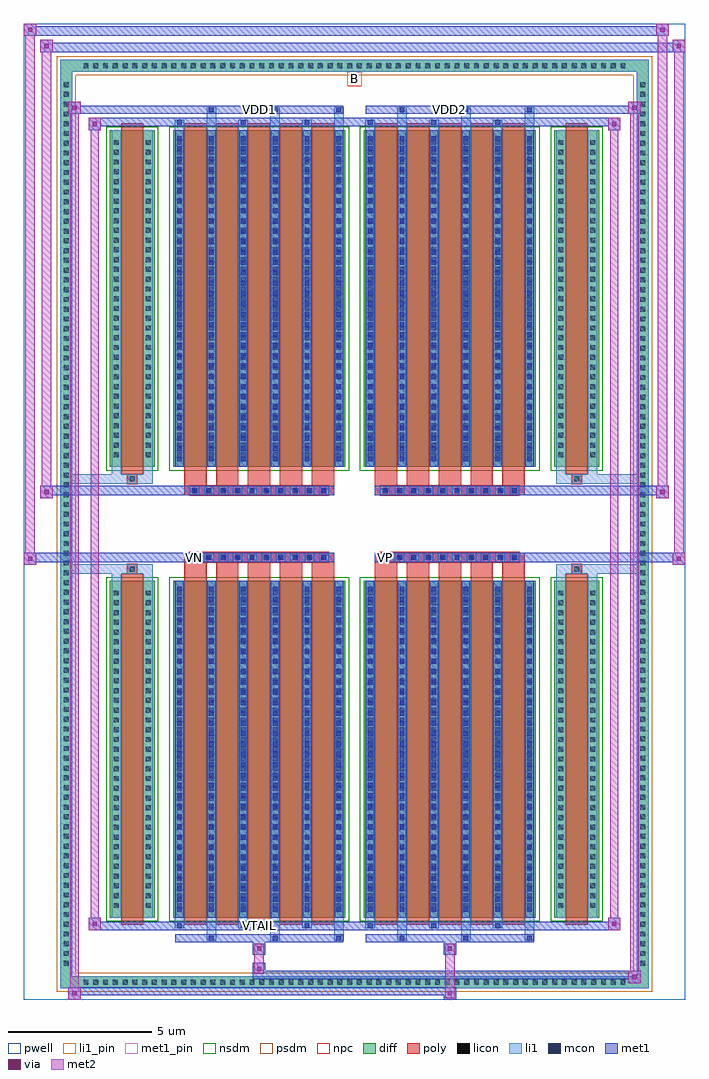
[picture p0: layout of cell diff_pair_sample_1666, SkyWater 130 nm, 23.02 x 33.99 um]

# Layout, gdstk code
import gdstk
lib = gdstk.Library(unit=1e-6, precision=5e-09)
def R(c, l, rs):  # rectangles x0, y0, x1, y1
    for r in rs: c.add(gdstk.rectangle(r[:2], r[2:], *l))
def A(c, l, x, y, w, h, nx, ny, dx, dy):  # array of equal rectangles
    R(c, l, [(x+i*dx, y+j*dy, x+i*dx+w, y+j*dy+h) for i in range(nx) for j in range(ny)])
def P(c, l, *ps):  # polygons
    for p in ps: c.add(gdstk.Polygon(p, *l))
pwell = (64, 44)
diff = (65, 20)
poly = (66, 20)
licon = (66, 44)
li1_pin = (67, 16)
li1 = (67, 20)
mcon = (67, 44)
met1_pin = (68, 16)
met1 = (68, 20)
via = (68, 44)
met2 = (69, 20)
nsdm = (93, 44)
psdm = (94, 20)
npc = (95, 20)

diff_pair_sample_1666 = lib.new_cell('diff_pair_sample_1666')
R(diff_pair_sample_1666, pwell, [(-11.51,-16.56,11.51,17.43), (-8.83,-14.75,-0.01,-0.795), (0.01,-14.75,8.83,-0.795), (-8.83,0.795,-0.01,14.75), (0.01,0.795,8.83,14.75)])
A(diff_pair_sample_1666, diff, -9.555, -16.16, 0.41, 0.41, 56, 2, 0.34, 31.91)
A(diff_pair_sample_1666, diff, -10.24, -15.505, 0.41, 0.41, 1, 91, 0, 0.34)
A(diff_pair_sample_1666, diff, 9.83, -15.505, 0.41, 0.41, 1, 91, 0, 0.34)
R(diff_pair_sample_1666, diff, [(-9.555,-16.16,9.555,-15.75), (-10.24,-15.505,-9.83,15.505), (9.83,-15.505,10.24,15.505), (-8.52,-13.705,-6.96,-1.985), (-6.32,-13.705,-0.32,-1.985), (0.32,-13.705,6.32,-1.985), (6.96,-13.705,8.52,-1.985), (-8.52,1.985,-6.96,13.705), (-6.32,1.985,-0.32,13.705), (0.32,1.985,6.32,13.705), (6.96,1.985,8.52,13.705), (-9.555,15.75,9.555,16.16)])
P(diff_pair_sample_1666, diff, [(10.24,16.16),(-10.24,16.16),(-10.24,-15.75),(-9.83,-15.75),(-9.83,15.75),(9.83,15.75),(9.83,-15.75),(-9.83,-15.75),(-10.24,-15.75),(-10.24,-16.16),(10.24,-16.16)])
A(diff_pair_sample_1666, poly, -5.93, -13.955, 0.78, 12.22, 5, 2, 1.11, 15.69)
A(diff_pair_sample_1666, poly, 0.71, -13.955, 0.78, 12.22, 5, 2, 1.11, 15.69)
A(diff_pair_sample_1666, poly, -5.93, -1.735, 0.78, 0.41, 5, 2, 1.11, 3.06)
A(diff_pair_sample_1666, poly, 0.71, -1.735, 0.78, 0.41, 5, 2, 1.11, 3.06)
A(diff_pair_sample_1666, poly, -5.735, -1.325, 0.33, 0.33, 10, 2, 0.5, 2.32)
A(diff_pair_sample_1666, poly, 0.905, -1.325, 0.33, 0.33, 10, 2, 0.5, 2.32)
R(diff_pair_sample_1666, poly, [(-8.13,-13.955,-7.35,-1.735), (7.35,-13.955,8.13,-1.735), (-7.905,-1.735,-7.575,-1.405), (-7.905,-1.735,-7.575,-1.405), (7.575,-1.735,7.905,-1.405), (7.575,-1.735,7.905,-1.405), (-5.93,-1.325,-0.71,-0.995), (0.71,-1.325,5.93,-0.995), (-5.93,0.995,-0.71,1.325), (0.71,0.995,5.93,1.325), (-7.905,1.405,-7.575,1.735), (-7.905,1.405,-7.575,1.735), (7.575,1.405,7.905,1.735), (7.575,1.405,7.905,1.735), (-8.13,1.735,-7.35,13.955), (7.35,1.735,8.13,13.955)])
A(diff_pair_sample_1666, licon, -9.435, -16.04, 0.17, 0.17, 56, 2, 0.34, 31.91)
A(diff_pair_sample_1666, licon, -10.12, -15.385, 0.17, 0.17, 1, 91, 0, 0.34)
A(diff_pair_sample_1666, licon, 9.95, -15.385, 0.17, 0.17, 1, 91, 0, 0.34)
A(diff_pair_sample_1666, licon, -8.38, -13.37, 0.17, 0.17, 1, 33, 0, 0.34)
A(diff_pair_sample_1666, licon, -7.27, -13.37, 0.17, 0.17, 1, 33, 0, 0.34)
A(diff_pair_sample_1666, licon, -6.18, -13.37, 0.17, 0.17, 6, 33, 1.11, 0.34)
A(diff_pair_sample_1666, licon, 0.46, -13.37, 0.17, 0.17, 6, 33, 1.11, 0.34)
A(diff_pair_sample_1666, licon, 7.1, -13.37, 0.17, 0.17, 1, 33, 0, 0.34)
A(diff_pair_sample_1666, licon, 8.21, -13.37, 0.17, 0.17, 1, 33, 0, 0.34)
A(diff_pair_sample_1666, licon, -5.655, -1.245, 0.17, 0.17, 10, 2, 0.5, 2.32)
A(diff_pair_sample_1666, licon, 0.985, -1.245, 0.17, 0.17, 10, 2, 0.5, 2.32)
A(diff_pair_sample_1666, licon, -8.38, 2.32, 0.17, 0.17, 1, 33, 0, 0.34)
A(diff_pair_sample_1666, licon, -7.27, 2.32, 0.17, 0.17, 1, 33, 0, 0.34)
A(diff_pair_sample_1666, licon, -6.18, 2.32, 0.17, 0.17, 6, 33, 1.11, 0.34)
A(diff_pair_sample_1666, licon, 0.46, 2.32, 0.17, 0.17, 6, 33, 1.11, 0.34)
A(diff_pair_sample_1666, licon, 7.1, 2.32, 0.17, 0.17, 1, 33, 0, 0.34)
A(diff_pair_sample_1666, licon, 8.21, 2.32, 0.17, 0.17, 1, 33, 0, 0.34)
R(diff_pair_sample_1666, licon, [(-7.825,-1.655,-7.655,-1.485), (7.655,-1.655,7.825,-1.485), (-7.825,1.485,-7.655,1.655), (7.655,1.485,7.825,1.655)])
R(diff_pair_sample_1666, li1_pin, [(-0.25,15.25,0.25,15.75)])
A(diff_pair_sample_1666, li1, -9.515, -16.12, 0.33, 0.33, 56, 2, 0.34, 31.91)
A(diff_pair_sample_1666, li1, -10.2, -15.465, 0.33, 0.33, 1, 91, 0, 0.34)
A(diff_pair_sample_1666, li1, 9.87, -15.465, 0.33, 0.33, 1, 91, 0, 0.34)
A(diff_pair_sample_1666, li1, -5.15, -14.51, 0.33, 0.805, 3, 2, 2.22, 28.215)
A(diff_pair_sample_1666, li1, -5.07, -14.51, 0.17, 0.17, 3, 2, 2.22, 28.85)
A(diff_pair_sample_1666, li1, 1.49, -14.51, 0.33, 0.805, 3, 2, 2.22, 28.215)
A(diff_pair_sample_1666, li1, 1.57, -14.51, 0.17, 0.17, 3, 2, 2.22, 28.85)
A(diff_pair_sample_1666, li1, -6.26, -14.08, 0.33, 0.375, 3, 2, 2.22, 27.785)
A(diff_pair_sample_1666, li1, -6.18, -14.08, 0.17, 0.17, 3, 2, 2.22, 27.99)
A(diff_pair_sample_1666, li1, 0.38, -14.08, 0.33, 0.375, 3, 2, 2.22, 27.785)
A(diff_pair_sample_1666, li1, 0.46, -14.08, 0.17, 0.17, 3, 2, 2.22, 27.99)
A(diff_pair_sample_1666, li1, -6.26, -13.705, 0.33, 11.72, 6, 2, 1.11, 15.69)
A(diff_pair_sample_1666, li1, 0.38, -13.705, 0.33, 11.72, 6, 2, 1.11, 15.69)
A(diff_pair_sample_1666, li1, -6.18, -13.51, 0.17, 0.17, 6, 32, 1.11, 0.36)
A(diff_pair_sample_1666, li1, -6.18, -13.51, 0.17, 11.33, 6, 2, 1.11, 15.69)
A(diff_pair_sample_1666, li1, 0.46, -13.51, 0.17, 0.17, 6, 32, 1.11, 0.36)
A(diff_pair_sample_1666, li1, 0.46, -13.51, 0.17, 11.33, 6, 2, 1.11, 15.69)
A(diff_pair_sample_1666, li1, -8.46, -13.45, 0.33, 0.33, 1, 33, 0, 0.34)
A(diff_pair_sample_1666, li1, -7.35, -13.45, 0.33, 0.33, 1, 33, 0, 0.34)
A(diff_pair_sample_1666, li1, -6.26, -13.45, 0.33, 0.33, 6, 33, 1.11, 0.34)
A(diff_pair_sample_1666, li1, 0.38, -13.45, 0.33, 0.33, 6, 33, 1.11, 0.34)
A(diff_pair_sample_1666, li1, 7.02, -13.45, 0.33, 0.33, 1, 33, 0, 0.34)
A(diff_pair_sample_1666, li1, 8.13, -13.45, 0.33, 0.33, 1, 33, 0, 0.34)
A(diff_pair_sample_1666, li1, -5.735, -1.325, 0.33, 0.33, 10, 2, 0.5, 2.32)
A(diff_pair_sample_1666, li1, 0.905, -1.325, 0.33, 0.33, 10, 2, 0.5, 2.32)
A(diff_pair_sample_1666, li1, -6.18, 2.18, 0.17, 0.17, 6, 32, 1.11, 0.36)
A(diff_pair_sample_1666, li1, 0.46, 2.18, 0.17, 0.17, 6, 32, 1.11, 0.36)
A(diff_pair_sample_1666, li1, -8.46, 2.24, 0.33, 0.33, 1, 33, 0, 0.34)
A(diff_pair_sample_1666, li1, -7.35, 2.24, 0.33, 0.33, 1, 33, 0, 0.34)
A(diff_pair_sample_1666, li1, -6.26, 2.24, 0.33, 0.33, 6, 33, 1.11, 0.34)
A(diff_pair_sample_1666, li1, 0.38, 2.24, 0.33, 0.33, 6, 33, 1.11, 0.34)
A(diff_pair_sample_1666, li1, 7.02, 2.24, 0.33, 0.33, 1, 33, 0, 0.34)
A(diff_pair_sample_1666, li1, 8.13, 2.24, 0.33, 0.33, 1, 33, 0, 0.34)
R(diff_pair_sample_1666, li1, [(-10.24,-16.16,-9.83,-15.75), (-10.24,-16.16,-9.83,-15.75), (-9.83,-16.16,9.83,-15.75), (9.83,-16.16,10.24,-15.75), (9.83,-16.16,10.24,-15.75), (-10.24,-15.75,-9.83,15.75), (9.83,-15.75,10.24,15.75), (-8.46,-13.705,-8.13,-1.985), (-7.35,-13.705,-7.02,-1.985), (7.02,-13.705,7.35,-1.985), (8.13,-13.705,8.46,-1.985), (-8.46,-1.985,-8.13,-1.405), (-7.35,-1.985,-7.02,-1.405), (7.02,-1.985,7.35,-1.405), (8.13,-1.985,8.46,-1.405), (-10.24,-1.735,-7.905,-1.405), (-8.46,-1.735,-7.905,-1.405), (-7.905,-1.735,-7.575,-1.405), (-7.575,-1.735,-7.02,-1.405), (7.02,-1.735,7.575,-1.405), (7.575,-1.735,7.905,-1.405), (7.575,-1.735,10.24,-1.405), (7.905,-1.735,8.46,-1.405), (-10.24,1.405,-7.905,1.735), (-8.46,1.405,-7.905,1.735), (-8.46,1.405,-8.13,1.985), (-7.905,1.405,-7.575,1.735), (-7.575,1.405,-7.02,1.735), (-7.35,1.405,-7.02,1.985), (7.02,1.405,7.575,1.735), (7.02,1.405,7.35,1.985), (7.575,1.405,7.905,1.735), (7.575,1.405,10.24,1.735), (7.905,1.405,8.46,1.735), (8.13,1.405,8.46,1.985), (-8.46,1.985,-8.13,13.705), (-7.35,1.985,-7.02,13.705), (7.02,1.985,7.35,13.705), (8.13,1.985,8.46,13.705), (-10.24,15.75,-9.83,16.16), (-10.24,15.75,-9.83,16.16), (-9.83,15.75,9.83,16.16), (9.83,15.75,10.24,16.16), (9.83,15.75,10.24,16.16)])
A(diff_pair_sample_1666, mcon, -5.07, -14.51, 0.17, 0.17, 3, 2, 2.22, 28.85)
A(diff_pair_sample_1666, mcon, 1.57, -14.51, 0.17, 0.17, 3, 2, 2.22, 28.85)
A(diff_pair_sample_1666, mcon, -6.18, -14.08, 0.17, 0.17, 3, 2, 2.22, 27.99)
A(diff_pair_sample_1666, mcon, 0.46, -14.08, 0.17, 0.17, 3, 2, 2.22, 27.99)
A(diff_pair_sample_1666, mcon, -6.18, -13.51, 0.17, 0.17, 6, 32, 1.11, 0.36)
A(diff_pair_sample_1666, mcon, 0.46, -13.51, 0.17, 0.17, 6, 32, 1.11, 0.36)
A(diff_pair_sample_1666, mcon, -5.655, -1.245, 0.17, 0.17, 10, 2, 0.5, 2.32)
A(diff_pair_sample_1666, mcon, 0.985, -1.245, 0.17, 0.17, 10, 2, 0.5, 2.32)
A(diff_pair_sample_1666, mcon, -6.18, 2.18, 0.17, 0.17, 6, 32, 1.11, 0.36)
A(diff_pair_sample_1666, mcon, 0.46, 2.18, 0.17, 0.17, 6, 32, 1.11, 0.36)
R(diff_pair_sample_1666, met1_pin, [(-3.455,-14.12,-3.185,-13.85), (-5.705,-1.285,-5.435,-1.015), (0.935,-1.285,1.205,-1.015), (-3.455,14.3,-3.185,14.57), (3.185,14.3,3.455,14.57)])
A(diff_pair_sample_1666, met1, -5.13, -14.57, 0.29, 0.29, 3, 2, 2.22, 28.85)
A(diff_pair_sample_1666, met1, 1.51, -14.57, 0.29, 0.29, 3, 2, 2.22, 28.85)
A(diff_pair_sample_1666, met1, -6.24, -14.14, 0.29, 0.29, 3, 2, 2.22, 27.99)
A(diff_pair_sample_1666, met1, 0.4, -14.14, 0.29, 0.29, 3, 2, 2.22, 27.99)
A(diff_pair_sample_1666, met1, -6.24, -13.705, 0.29, 11.72, 6, 2, 1.11, 15.69)
A(diff_pair_sample_1666, met1, 0.4, -13.705, 0.29, 11.72, 6, 2, 1.11, 15.69)
A(diff_pair_sample_1666, met1, -6.24, -13.57, 0.29, 0.29, 6, 32, 1.11, 0.36)
A(diff_pair_sample_1666, met1, 0.4, -13.57, 0.29, 0.29, 6, 32, 1.11, 0.36)
A(diff_pair_sample_1666, met1, -5.715, -1.305, 0.29, 0.29, 10, 2, 0.5, 2.32)
A(diff_pair_sample_1666, met1, 0.925, -1.305, 0.29, 0.29, 10, 2, 0.5, 2.32)
A(diff_pair_sample_1666, met1, -6.24, 2.12, 0.29, 0.29, 6, 32, 1.11, 0.36)
A(diff_pair_sample_1666, met1, 0.4, 2.12, 0.29, 0.29, 6, 32, 1.11, 0.36)
R(diff_pair_sample_1666, met1, [(-9.97,-16.56,-9.54,-16.13), (3.105,-16.56,3.535,-16.13), (-9.97,-16.42,3.535,-16.13), (9.54,-15.99,9.97,-15.56), (-3.535,-15.85,9.97,-15.56), (-3.535,-15.71,-3.105,-15.28), (-3.535,-15,-3.105,-14.57), (3.105,-15,3.535,-14.57), (-6.24,-14.57,-0.4,-14.28), (0.4,-14.57,6.24,-14.28), (-9.26,-14.14,-8.83,-13.71), (-9.26,-14.14,-6.24,-13.85), (-6.24,-14.14,-0.4,-13.85), (-0.4,-14.14,0.4,-13.85), (0.4,-14.14,6.24,-13.85), (6.24,-14.14,9.26,-13.85), (8.83,-14.14,9.26,-13.71), (-11.51,-1.425,-11.08,-0.995), (11.08,-1.425,11.51,-0.995), (-11.51,-1.325,-0.71,-0.995), (-5.93,-1.325,-0.71,-0.995), (0.71,-1.325,5.93,-0.995), (0.71,-1.325,11.51,-0.995), (-10.94,0.895,-10.51,1.325), (10.51,0.895,10.94,1.325), (-10.94,0.995,-5.93,1.325), (-5.93,0.995,-0.71,1.325), (0.71,0.995,5.93,1.325), (5.93,0.995,10.94,1.325), (-9.26,13.71,-8.83,14.14), (8.83,13.71,9.26,14.14), (-9.26,13.85,-6.24,14.14), (-6.24,13.85,-0.4,14.14), (-0.4,13.85,0.4,14.14), (0.4,13.85,6.24,14.14), (6.24,13.85,9.26,14.14), (-9.97,14.28,-9.54,14.71), (-9.97,14.28,-6.24,14.57), (-6.24,14.28,-0.4,14.57), (0.4,14.28,6.24,14.57), (6.24,14.28,9.97,14.57), (9.54,14.28,9.97,14.71), (-10.94,16.43,-10.51,16.86), (-10.94,16.43,-8.83,16.76), (-8.83,16.43,8.83,16.76), (8.83,16.43,11.51,16.76), (11.08,16.43,11.51,16.86), (-11.51,17,-11.08,17.43), (-11.51,17,-8.83,17.33), (-8.83,17,8.83,17.33), (8.83,17,10.94,17.33), (10.51,17,10.94,17.43)])
R(diff_pair_sample_1666, via, [(-9.83,-16.42,-9.68,-16.27), (3.245,-16.42,3.395,-16.27), (9.68,-15.85,9.83,-15.7), (-3.395,-15.57,-3.245,-15.42), (-3.395,-14.86,-3.245,-14.71), (3.245,-14.86,3.395,-14.71), (-9.12,-14,-8.97,-13.85), (8.97,-14,9.12,-13.85), (-11.37,-1.285,-11.22,-1.135), (11.22,-1.285,11.37,-1.135), (-10.8,1.035,-10.65,1.185), (10.65,1.035,10.8,1.185), (-9.12,13.85,-8.97,14), (8.97,13.85,9.12,14), (-9.83,14.42,-9.68,14.57), (9.68,14.42,9.83,14.57), (-10.8,16.57,-10.65,16.72), (11.22,16.57,11.37,16.72), (-11.37,17.14,-11.22,17.29), (10.65,17.14,10.8,17.29)])
R(diff_pair_sample_1666, met2, [(-9.97,-16.56,-9.54,-16.13), (-9.9,-16.56,-9.61,14.71), (-9.61,-16.56,-9.54,-16.13), (-9.92,-16.51,-9.59,-16.18), (3.155,-16.51,3.485,-16.18), (3.155,-16.18,3.485,-14.95), (9.54,-15.99,9.97,-15.56), (9.61,-15.99,9.9,14.71), (9.9,-15.99,9.97,-15.56), (9.59,-15.94,9.92,-15.61), (-3.485,-15.66,-3.155,-15.33), (-3.485,-15.33,-3.155,-14.95), (-3.485,-14.95,-3.155,-14.62), (3.155,-14.95,3.485,-14.62), (-9.26,-14.14,-8.83,-13.71), (-9.19,-14.14,-8.9,14.14), (-8.9,-14.14,-8.83,-13.71), (8.83,-14.14,9.26,-13.71), (8.9,-14.14,9.19,14.14), (9.19,-14.14,9.26,-13.71), (-9.21,-14.09,-8.88,-13.76), (8.88,-14.09,9.21,-13.76), (-11.51,-1.425,-11.08,-0.995), (-11.46,-1.425,-11.13,17.43), (-11.13,-1.425,-11.08,-0.995), (11.08,-1.425,11.51,-0.995), (11.13,-1.425,11.46,16.86), (11.46,-1.425,11.51,-0.995), (-11.46,-1.375,-11.13,-1.045), (11.13,-1.375,11.46,-1.045), (-10.94,0.895,-10.51,1.325), (-10.89,0.895,-10.56,16.86), (-10.56,0.895,-10.51,1.325), (10.51,0.895,10.94,1.325), (10.56,0.895,10.89,17.43), (10.89,0.895,10.94,1.325), (-10.89,0.945,-10.56,1.275), (10.56,0.945,10.89,1.275), (-9.26,13.71,-8.83,14.14), (-8.9,13.71,-8.83,14.14), (8.83,13.71,9.26,14.14), (9.19,13.71,9.26,14.14), (-9.21,13.76,-8.88,14.09), (8.88,13.76,9.21,14.09), (-9.97,14.28,-9.54,14.71), (-9.61,14.28,-9.54,14.71), (9.54,14.28,9.97,14.71), (9.9,14.28,9.97,14.71), (-9.92,14.33,-9.59,14.66), (9.59,14.33,9.92,14.66), (-10.94,16.43,-10.51,16.86), (-10.56,16.43,-10.51,16.86), (11.08,16.43,11.51,16.86), (11.46,16.43,11.51,16.86), (-10.89,16.48,-10.56,16.81), (11.13,16.48,11.46,16.81), (-11.51,17,-11.08,17.43), (-11.13,17,-11.08,17.43), (10.51,17,10.94,17.43), (10.89,17,10.94,17.43), (-11.46,17.05,-11.13,17.38), (10.56,17.05,10.89,17.38)])
R(diff_pair_sample_1666, nsdm, [(-8.65,-13.835,-6.83,-1.855), (-6.45,-13.835,-0.19,-1.855), (0.19,-13.835,6.45,-1.855), (6.83,-13.835,8.65,-1.855), (-8.65,1.855,-6.83,13.835), (-6.45,1.855,-0.19,13.835), (0.19,1.855,6.45,13.835), (6.83,1.855,8.65,13.835)])
P(diff_pair_sample_1666, psdm, [(10.37,16.29),(-10.37,16.29),(-10.37,-15.62),(-9.7,-15.62),(-9.7,15.62),(9.7,15.62),(9.7,-15.62),(-9.7,-15.62),(-10.37,-15.62),(-10.37,-16.29),(10.37,-16.29)])
A(diff_pair_sample_1666, npc, -5.755, -1.345, 0.37, 0.37, 10, 2, 0.5, 2.32)
A(diff_pair_sample_1666, npc, 0.885, -1.345, 0.37, 0.37, 10, 2, 0.5, 2.32)
R(diff_pair_sample_1666, npc, [(-7.925,-1.755,-7.555,-1.385), (7.555,-1.755,7.925,-1.385), (-5.755,-1.345,-4.885,-0.975), (-5.755,-1.345,-4.885,-0.975), (-5.255,-1.345,-4.385,-0.975), (-5.255,-1.345,-4.385,-0.975), (-4.755,-1.345,-3.885,-0.975), (-4.755,-1.345,-3.885,-0.975), (-4.255,-1.345,-3.385,-0.975), (-4.255,-1.345,-3.385,-0.975), (-3.755,-1.345,-2.885,-0.975), (-3.755,-1.345,-2.885,-0.975), (-3.255,-1.345,-2.385,-0.975), (-3.255,-1.345,-2.385,-0.975), (-2.755,-1.345,-1.885,-0.975), (-2.755,-1.345,-1.885,-0.975), (-2.255,-1.345,-1.385,-0.975), (-2.255,-1.345,-1.385,-0.975), (-1.755,-1.345,-0.885,-0.975), (-1.755,-1.345,-0.885,-0.975), (0.885,-1.345,1.755,-0.975), (0.885,-1.345,1.755,-0.975), (1.385,-1.345,2.255,-0.975), (1.385,-1.345,2.255,-0.975), (1.885,-1.345,2.755,-0.975), (1.885,-1.345,2.755,-0.975), (2.385,-1.345,3.255,-0.975), (2.385,-1.345,3.255,-0.975), (2.885,-1.345,3.755,-0.975), (2.885,-1.345,3.755,-0.975), (3.385,-1.345,4.255,-0.975), (3.385,-1.345,4.255,-0.975), (3.885,-1.345,4.755,-0.975), (3.885,-1.345,4.755,-0.975), (4.385,-1.345,5.255,-0.975), (4.385,-1.345,5.255,-0.975), (4.885,-1.345,5.755,-0.975), (4.885,-1.345,5.755,-0.975), (-5.755,0.975,-4.885,1.345), (-5.755,0.975,-4.885,1.345), (-5.255,0.975,-4.385,1.345), (-5.255,0.975,-4.385,1.345), (-4.755,0.975,-3.885,1.345), (-4.755,0.975,-3.885,1.345), (-4.255,0.975,-3.385,1.345), (-4.255,0.975,-3.385,1.345), (-3.755,0.975,-2.885,1.345), (-3.755,0.975,-2.885,1.345), (-3.255,0.975,-2.385,1.345), (-3.255,0.975,-2.385,1.345), (-2.755,0.975,-1.885,1.345), (-2.755,0.975,-1.885,1.345), (-2.255,0.975,-1.385,1.345), (-2.255,0.975,-1.385,1.345), (-1.755,0.975,-0.885,1.345), (-1.755,0.975,-0.885,1.345), (0.885,0.975,1.755,1.345), (0.885,0.975,1.755,1.345), (1.385,0.975,2.255,1.345), (1.385,0.975,2.255,1.345), (1.885,0.975,2.755,1.345), (1.885,0.975,2.755,1.345), (2.385,0.975,3.255,1.345), (2.385,0.975,3.255,1.345), (2.885,0.975,3.755,1.345), (2.885,0.975,3.755,1.345), (3.385,0.975,4.255,1.345), (3.385,0.975,4.255,1.345), (3.885,0.975,4.755,1.345), (3.885,0.975,4.755,1.345), (4.385,0.975,5.255,1.345), (4.385,0.975,5.255,1.345), (4.885,0.975,5.755,1.345), (4.885,0.975,5.755,1.345), (-7.925,1.385,-7.555,1.755), (7.555,1.385,7.925,1.755)])
diff_pair_sample_1666.add(gdstk.Label('VTAIL', (-3.32,-13.985), layer=68, texttype=5))
diff_pair_sample_1666.add(gdstk.Label('VN', (-5.57,-1.15), layer=68, texttype=5))
diff_pair_sample_1666.add(gdstk.Label('VP', (1.07,-1.15), layer=68, texttype=5))
diff_pair_sample_1666.add(gdstk.Label('B', (0,15.5), layer=67, texttype=5))
diff_pair_sample_1666.add(gdstk.Label('VDD2', (3.32,14.435), layer=68, texttype=5))
diff_pair_sample_1666.add(gdstk.Label('VDD1', (-3.32,14.435), layer=68, texttype=5))

lib.write_gds('diff_pair_sample_1666.gds')
